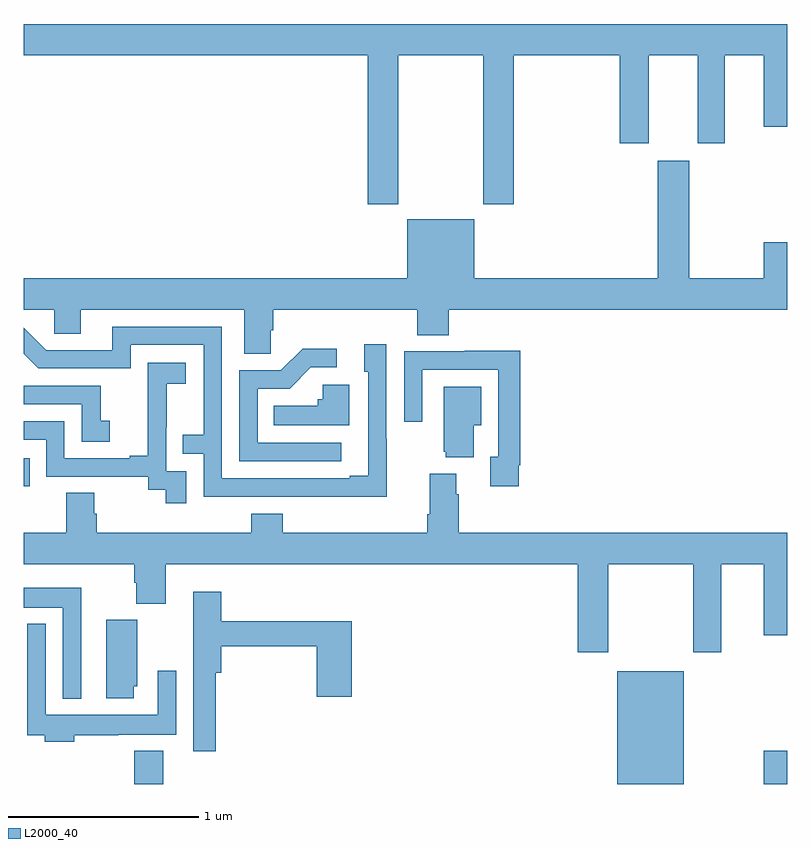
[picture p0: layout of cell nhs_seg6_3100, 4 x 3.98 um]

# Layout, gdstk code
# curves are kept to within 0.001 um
import gdstk
lib = gdstk.Library(unit=1e-6, precision=1e-09)
def R(c, l, rs):  # rectangles x0, y0, x1, y1
    for r in rs: c.add(gdstk.rectangle(r[:2], r[2:], *l))
def P(c, l, *ps):  # polygons
    for p in ps: c.add(gdstk.Polygon(p, *l))
L2000_40 = (2000, 40)

nhs_seg6_3100 = lib.new_cell('nhs_seg6_3100')
R(nhs_seg6_3100, L2000_40, [(293.579,963.5,293.731,963.673), (296.108,963.5,296.458,964.09), (296.876,963.5,297,963.673), (293,965.058,293.033,965.205)])
P(nhs_seg6_3100, L2000_40, [(294.963,967.316),(295.408,967.316),(295.408,966.537),(295.568,966.537),(295.568,967.316),(296.123,967.316),(296.123,966.855),(296.275,966.855),(296.275,967.316),(296.531,967.316),(296.531,966.855),(296.671,966.855),(296.671,967.316),(296.876,967.316),(296.876,966.942),(297,966.942),(297,967.48),(293,967.48),(293,967.316),(294.803,967.316),(294.803,966.537),(294.963,966.537)],
  [(294.294,965.875),(294.308,965.875),(294.308,965.984),(295.061,965.984),(295.061,965.851),(295.226,965.851),(295.226,965.984),(297,965.984),(297,966.337),(296.876,966.337),(296.876,966.148),(296.485,966.148),(296.485,966.763),(296.321,966.763),(296.321,966.148),(295.36,966.148),(295.36,966.457),(295.01,966.457),(295.01,966.148),(293,966.148),(293,965.984),(293.16,965.984),(293.16,965.857),(293.299,965.857),(293.299,965.984),(294.155,965.984),(294.155,965.752),(294.294,965.752)],
  [(294.903,965.309),(294.9,965.309),(294.9,965.803),(294.785,965.803),(294.785,965.658),(294.804,965.658),(294.804,965.113),(294.707,965.113),(294.707,965.1),(294.039,965.1),(294.039,965.895),(293.465,965.895),(293.465,965.772),(293.118,965.772),(293,965.89),(293,965.752),(293.076,965.676),(293.562,965.676),(293.562,965.799),(293.943,965.799),(293.943,965.33),(293.833,965.33),(293.833,965.229),(293.943,965.229),(293.943,965.004),(294.903,965.003)],
  [(294.664,965.286),(294.225,965.286),(294.225,965.571),(294.394,965.571),(294.505,965.682),(294.64,965.682),(294.64,965.78),(294.461,965.78),(294.348,965.667),(294.129,965.667),(294.129,965.19),(294.664,965.19)],
  [(295.594,965.17),(295.601,965.17),(295.601,965.768),(295.309,965.768),(295.309,965.766),(294.993,965.766),(294.993,965.397),(295.089,965.397),(295.089,965.67),(295.485,965.67),(295.485,965.214),(295.445,965.214),(295.445,965.058),(295.594,965.058)],
  [(293.853,965.139),(293.748,965.139),(293.748,965.369),(293.75,965.369),(293.75,965.597),(293.848,965.597),(293.848,965.707),(293.65,965.707),(293.65,965.501),(293.651,965.501),(293.651,965.218),(293.555,965.218),(293.555,965.205),(293.214,965.205),(293.214,965.4),(293,965.4),(293,965.304),(293.118,965.304),(293.118,965.109),(293.652,965.109),(293.652,965.041),(293.745,965.041),(293.745,964.971),(293.853,964.971)],
  [(294.706,965.59),(294.567,965.59),(294.567,965.514),(294.541,965.514),(294.541,965.482),(294.31,965.482),(294.31,965.378),(294.706,965.378)],
  [(293.452,965.401),(293.403,965.401),(293.403,965.586),(293,965.586),(293,965.49),(293.304,965.49),(293.304,965.292),(293.452,965.292)],
  [(295.357,965.378),(295.396,965.378),(295.396,965.581),(295.199,965.581),(295.199,965.241),(295.211,965.241),(295.211,965.21),(295.357,965.21)],
  [(296.061,964.652),(296.506,964.652),(296.506,964.191),(296.653,964.191),(296.653,964.652),(296.876,964.652),(296.876,964.278),(297,964.278),(297,964.816),(295.28,964.816),(295.28,965.018),(295.267,965.018),(295.267,965.125),(295.127,965.125),(295.127,964.912),(295.115,964.912),(295.115,964.816),(294.356,964.816),(294.356,964.915),(294.191,964.915),(294.191,964.816),(293.384,964.816),(293.384,964.914),(293.371,964.914),(293.371,965.024),(293.224,965.024),(293.224,964.816),(293,964.816),(293,964.652),(293.579,964.652),(293.579,964.553),(293.591,964.553),(293.591,964.444),(293.744,964.444),(293.744,964.652),(295.901,964.652),(295.901,964.191),(296.061,964.191)],
  [(293.302,964.528),(293,964.528),(293,964.424),(293.205,964.424),(293.205,963.947),(293.302,963.947)],
  [(294.005,964.082),(294.035,964.082),(294.035,964.222),(294.536,964.222),(294.536,963.957),(294.719,963.957),(294.719,964.351),(294.035,964.351),(294.035,964.507),(293.888,964.507),(293.888,964.245),(293.889,964.245),(293.889,963.672),(294.005,963.672)],
  [(293.578,964.011),(293.596,964.011),(293.596,964.359),(293.432,964.359),(293.432,963.948),(293.578,963.948)],
  [(293.264,963.756),(293.495,963.756),(293.495,963.758),(293.799,963.758),(293.799,964.093),(293.703,964.093),(293.703,963.862),(293.115,963.862),(293.115,964.339),(293.019,964.339),(293.019,963.756),(293.111,963.756),(293.111,963.722),(293.264,963.722)])

lib.write_gds('nhs_seg6_3100.gds')
